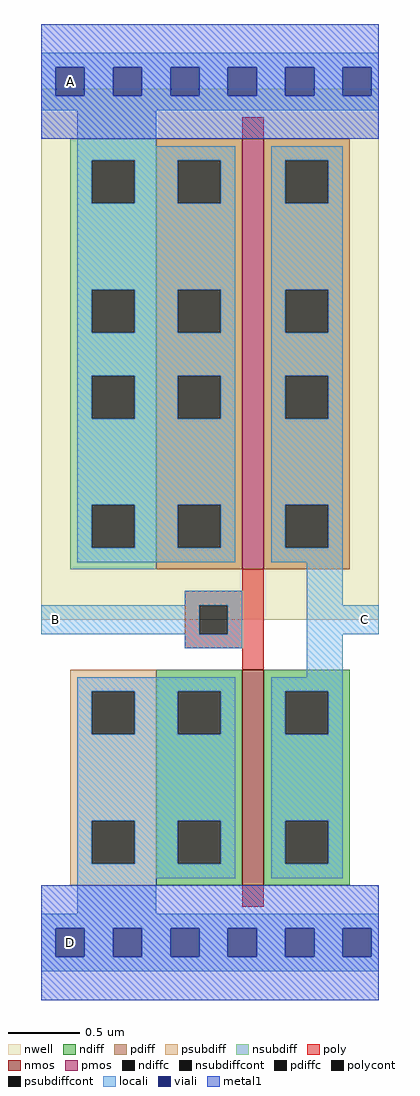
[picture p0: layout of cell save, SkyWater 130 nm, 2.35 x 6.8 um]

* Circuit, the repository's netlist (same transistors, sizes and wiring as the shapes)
* NGSPICE file created from save.ext - technology: sky130A

.subckt save B C D A
X0 C B D D sky130_fd_pr__nfet_01v8 ad=9e+11p pd=4.2e+06u as=9e+11p ps=4.2e+06u w=1.5e+06u l=150000u
X1 C B A A sky130_fd_pr__pfet_01v8 ad=1.8e+12p pd=7.2e+06u as=1.8e+12p ps=7.2e+06u w=3e+06u l=150000u
.ends

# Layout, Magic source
magic
tech sky130A
<< nwell >>
rect -75 130 160 500
<< nmos >>
rect 65 -55 80 95
<< pmos >>
rect 65 165 80 465
<< ndiff >>
rect 5 80 65 95
rect 5 50 20 80
rect 50 50 65 80
rect 5 -10 65 50
rect 5 -40 20 -10
rect 50 -40 65 -10
rect 5 -55 65 -40
rect 80 80 140 95
rect 80 50 95 80
rect 125 50 140 80
rect 80 -10 140 50
rect 80 -40 95 -10
rect 125 -40 140 -10
rect 80 -55 140 -40
<< pdiff >>
rect 5 450 65 465
rect 5 420 20 450
rect 50 420 65 450
rect 5 360 65 420
rect 5 330 20 360
rect 50 330 65 360
rect 5 300 65 330
rect 5 270 20 300
rect 50 270 65 300
rect 5 210 65 270
rect 5 180 20 210
rect 50 180 65 210
rect 5 165 65 180
rect 80 450 140 465
rect 80 420 95 450
rect 125 420 140 450
rect 80 360 140 420
rect 80 330 95 360
rect 125 330 140 360
rect 80 300 140 330
rect 80 270 95 300
rect 125 270 140 300
rect 80 210 140 270
rect 80 180 95 210
rect 125 180 140 210
rect 80 165 140 180
<< ndiffc >>
rect 20 50 50 80
rect 20 -40 50 -10
rect 95 50 125 80
rect 95 -40 125 -10
<< pdiffc >>
rect 20 420 50 450
rect 20 330 50 360
rect 20 270 50 300
rect 20 180 50 210
rect 95 420 125 450
rect 95 330 125 360
rect 95 270 125 300
rect 95 180 125 210
<< psubdiff >>
rect -55 80 5 95
rect -55 50 -40 80
rect -10 50 5 80
rect -55 -10 5 50
rect -55 -40 -40 -10
rect -10 -40 5 -10
rect -55 -55 5 -40
<< nsubdiff >>
rect -55 450 5 465
rect -55 420 -40 450
rect -10 420 5 450
rect -55 360 5 420
rect -55 330 -40 360
rect -10 330 5 360
rect -55 300 5 330
rect -55 270 -40 300
rect -10 270 5 300
rect -55 210 5 270
rect -55 180 -40 210
rect -10 180 5 210
rect -55 165 5 180
<< psubdiffcont >>
rect -40 50 -10 80
rect -40 -40 -10 -10
<< nsubdiffcont >>
rect -40 420 -10 450
rect -40 330 -10 360
rect -40 270 -10 300
rect -40 180 -10 210
<< poly >>
rect 65 465 80 480
rect 65 150 80 165
rect 25 140 80 150
rect 25 120 35 140
rect 55 120 80 140
rect 25 110 80 120
rect 65 95 80 110
rect 65 -70 80 -55
<< polycont >>
rect 35 120 55 140
<< locali >>
rect -75 515 160 525
rect -75 495 -65 515
rect -45 495 -25 515
rect -5 495 15 515
rect 35 495 55 515
rect 75 495 95 515
rect 115 495 135 515
rect 155 495 160 515
rect -75 485 160 495
rect -50 460 5 485
rect -50 450 60 460
rect -50 420 -40 450
rect -10 420 20 450
rect 50 420 60 450
rect -50 360 60 420
rect -50 330 -40 360
rect -10 330 20 360
rect 50 330 60 360
rect -50 300 60 330
rect -50 270 -40 300
rect -10 270 20 300
rect 50 270 60 300
rect -50 210 60 270
rect -50 180 -40 210
rect -10 180 20 210
rect 50 180 60 210
rect -50 170 60 180
rect 85 450 135 460
rect 85 420 95 450
rect 125 420 135 450
rect 85 360 135 420
rect 85 330 95 360
rect 125 330 135 360
rect 85 300 135 330
rect 85 270 95 300
rect 125 270 135 300
rect 85 210 135 270
rect 85 180 95 210
rect 125 180 135 210
rect 85 170 135 180
rect 25 140 65 150
rect -75 120 35 140
rect 55 120 65 140
rect 25 110 65 120
rect 110 140 135 170
rect 110 120 160 140
rect 110 90 135 120
rect -50 80 60 90
rect -50 50 -40 80
rect -10 50 20 80
rect 50 50 60 80
rect -50 -10 60 50
rect -50 -40 -40 -10
rect -10 -40 20 -10
rect 50 -40 60 -10
rect -50 -50 60 -40
rect 85 80 135 90
rect 85 50 95 80
rect 125 50 135 80
rect 85 -10 135 50
rect 85 -40 95 -10
rect 125 -40 135 -10
rect 85 -50 135 -40
rect -50 -75 5 -50
rect -75 -85 160 -75
rect -75 -105 -65 -85
rect -45 -105 -25 -85
rect -5 -105 15 -85
rect 35 -105 55 -85
rect 75 -105 95 -85
rect 115 -105 135 -85
rect 155 -105 160 -85
rect -75 -115 160 -105
<< viali >>
rect -65 495 -45 515
rect -25 495 -5 515
rect 15 495 35 515
rect 55 495 75 515
rect 95 495 115 515
rect 135 495 155 515
rect -65 -105 -45 -85
rect -25 -105 -5 -85
rect 15 -105 35 -85
rect 55 -105 75 -85
rect 95 -105 115 -85
rect 135 -105 155 -85
<< metal1 >>
rect -75 515 160 545
rect -75 495 -65 515
rect -45 495 -25 515
rect -5 495 15 515
rect 35 495 55 515
rect 75 495 95 515
rect 115 495 135 515
rect 155 495 160 515
rect -75 465 160 495
rect -75 -85 160 -55
rect -75 -105 -65 -85
rect -45 -105 -25 -85
rect -5 -105 15 -85
rect 35 -105 55 -85
rect 75 -105 95 -85
rect 115 -105 135 -85
rect 155 -105 160 -85
rect -75 -135 160 -105
<< labels >>
rlabel metal1 -65 495 -45 515 7 A
port 1 w
rlabel locali -75 120 -55 140 7 B
port 2 w
rlabel metal1 -65 -105 -45 -85 7 D
port 4 w
rlabel locali 140 120 160 140 7 C
port 3 w
<< end >>
